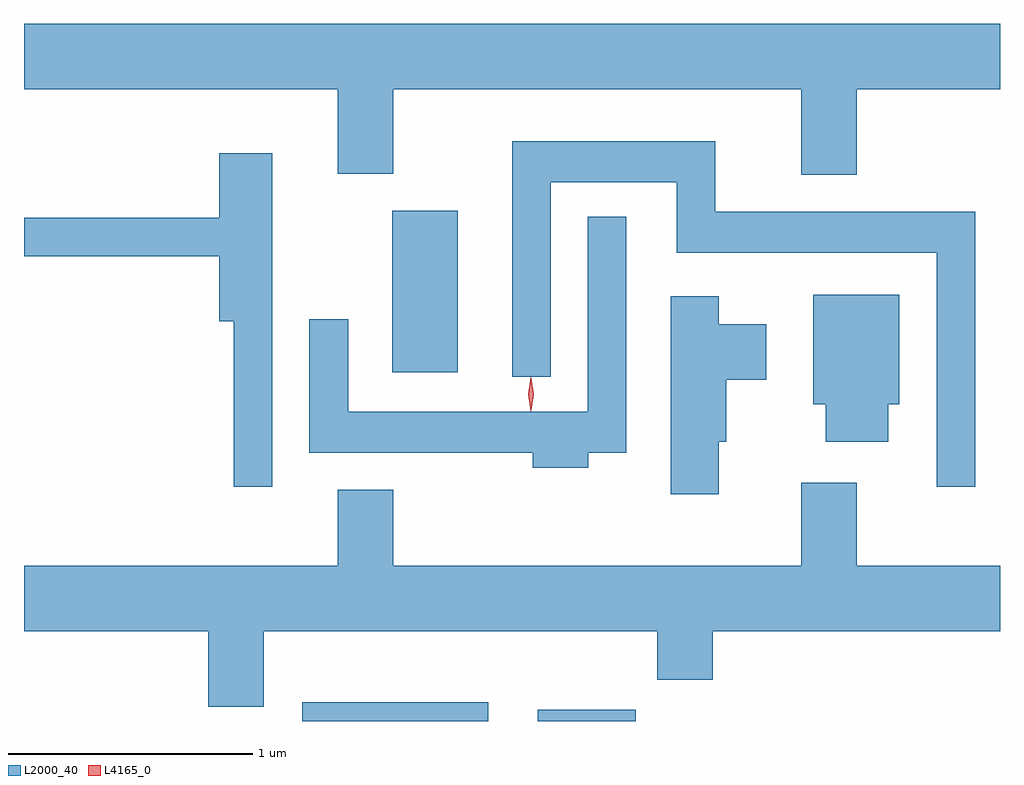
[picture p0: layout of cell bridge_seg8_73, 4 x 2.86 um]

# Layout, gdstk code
import gdstk
lib = gdstk.Library(unit=1e-6, precision=1e-09)
def R(c, l, rs):  # rectangles x0, y0, x1, y1
    for r in rs: c.add(gdstk.rectangle(r[:2], r[2:], *l))
def P(c, l, *ps):  # polygons
    for p in ps: c.add(gdstk.Polygon(p, *l))
L2000_40 = (2000, 40)
L4165_0 = (4165, 0)

bridge_seg8_73 = lib.new_cell('bridge_seg8_73')
R(bridge_seg8_73, L2000_40, [(1536.906,1813.847,1537.669,1813.924), (1537.871,1813.847,1538.274,1813.894), (1537.276,1815.276,1537.544,1815.939)])
P(bridge_seg8_73, L2000_40, [(1539.179,1816.436),(1539.766,1816.436),(1539.766,1816.704),(1535.766,1816.704),(1535.766,1816.436),(1537.051,1816.436),(1537.051,1816.091),(1537.279,1816.091),(1537.279,1816.436),(1538.951,1816.436),(1538.951,1816.086),(1539.179,1816.086)],
  [(1539.664,1815.934),(1538.599,1815.934),(1538.599,1816.224),(1537.766,1816.224),(1537.766,1815.258),(1537.924,1815.258),(1537.924,1816.056),(1538.441,1816.056),(1538.441,1815.766),(1539.506,1815.766),(1539.506,1814.808),(1539.664,1814.808)],
  [(1536.784,1816.174),(1536.566,1816.174),(1536.566,1815.909),(1535.766,1815.909),(1535.766,1815.751),(1536.566,1815.751),(1536.566,1815.486),(1536.626,1815.486),(1536.626,1814.808),(1536.784,1814.808)],
  [(1538.079,1814.946),(1538.234,1814.946),(1538.234,1815.913),(1538.076,1815.913),(1538.076,1815.114),(1537.094,1815.114),(1537.094,1815.493),(1536.936,1815.493),(1536.936,1814.946),(1537.851,1814.946),(1537.851,1814.886),(1538.079,1814.886)],
  [(1539.309,1815.146),(1539.354,1815.146),(1539.354,1815.594),(1539.001,1815.594),(1539.001,1815.146),(1539.051,1815.146),(1539.051,1814.991),(1539.309,1814.991)],
  [(1538.614,1814.991),(1538.644,1814.991),(1538.644,1815.246),(1538.809,1815.246),(1538.809,1815.474),(1538.614,1815.474),(1538.614,1815.589),(1538.416,1815.589),(1538.416,1814.776),(1538.614,1814.776)],
  [(1536.749,1814.216),(1538.361,1814.216),(1538.361,1814.016),(1538.589,1814.016),(1538.589,1814.216),(1539.766,1814.216),(1539.766,1814.484),(1539.179,1814.484),(1539.179,1814.824),(1538.951,1814.824),(1538.951,1814.484),(1537.279,1814.484),(1537.279,1814.794),(1537.051,1814.794),(1537.051,1814.484),(1535.766,1814.484),(1535.766,1814.216),(1536.521,1814.216),(1536.521,1813.906),(1536.749,1813.906)])
P(bridge_seg8_73, L4165_0, [(1537.845,1815.119),(1537.844,1815.12),(1537.835,1815.186),(1537.844,1815.252),(1537.845,1815.253),(1537.845,1815.252),(1537.855,1815.186),(1537.845,1815.12)],
  [(1537.842,1815.117),(1537.833,1815.187),(1537.842,1815.256),(1537.843,1815.256),(1537.843,1815.256),(1537.853,1815.187),(1537.843,1815.117),(1537.843,1815.117)])

lib.write_gds('bridge_seg8_73.gds')
